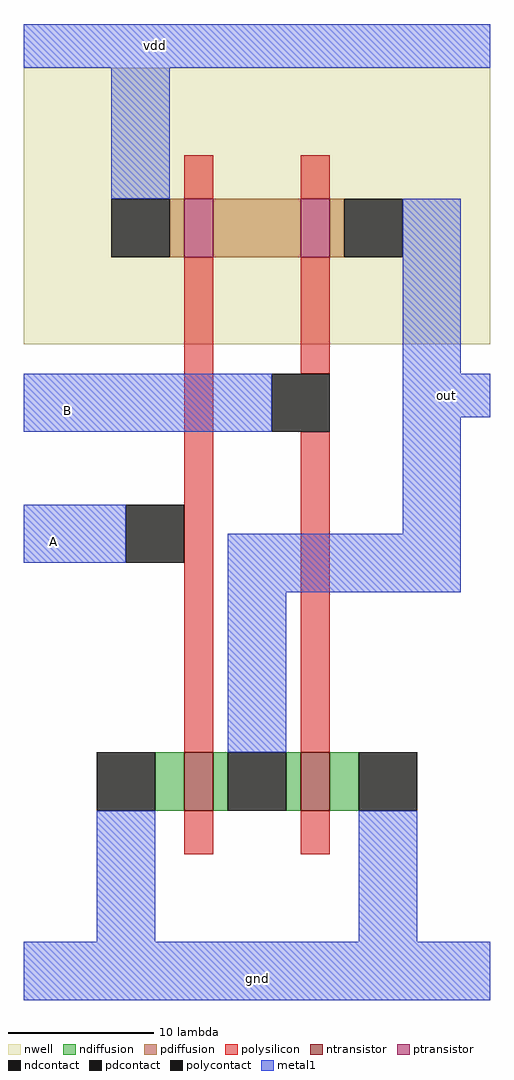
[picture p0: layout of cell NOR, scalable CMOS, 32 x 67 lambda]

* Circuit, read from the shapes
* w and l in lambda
.subckt NOR A B gnd out vdd
M1 out A gnd VSUBS nfet w=4 l=2
M2 gnd B out VSUBS nfet w=4 l=2
M3 n1 A vdd n2 pfet w=4 l=2
M4 out B n1 n2 pfet w=4 l=2
.ends

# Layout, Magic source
magic
tech scmos
<< nwell >>
rect -27 1 5 20
<< ntransistor >>
rect -16 -31 -14 -27
rect -8 -31 -6 -27
<< ptransistor >>
rect -16 7 -14 11
rect -8 7 -6 11
<< ndiffusion >>
rect -18 -31 -16 -27
rect -14 -31 -13 -27
rect -9 -31 -8 -27
rect -6 -31 -4 -27
<< pdiffusion >>
rect -17 7 -16 11
rect -14 7 -8 11
rect -6 7 -5 11
<< ndcontact >>
rect -22 -31 -18 -27
rect -13 -31 -9 -27
rect -4 -31 0 -27
<< pdcontact >>
rect -21 7 -17 11
rect -5 7 -1 11
<< polysilicon >>
rect -16 11 -14 14
rect -8 11 -6 14
rect -16 -27 -14 7
rect -8 -1 -6 7
rect -8 -27 -6 -5
rect -16 -34 -14 -31
rect -8 -34 -6 -31
<< polycontact >>
rect -20 -14 -16 -10
rect -10 -5 -6 -1
<< metal1 >>
rect -27 20 5 23
rect -21 11 -17 20
rect -1 -1 3 11
rect -27 -5 -10 -1
rect -1 -4 5 -1
rect -27 -14 -20 -10
rect -1 -12 3 -4
rect -13 -16 3 -12
rect -13 -27 -9 -16
rect -22 -40 -18 -31
rect -4 -40 0 -31
rect -27 -44 5 -40
<< labels >>
rlabel metal1 -19 21 -17 22 5 vdd
rlabel metal1 -25 -4 -23 -3 3 B
rlabel metal1 1 -3 3 -2 7 out
rlabel metal1 -12 -43 -10 -42 1 gnd
rlabel metal1 -26 -13 -24 -12 3 A
<< end >>
